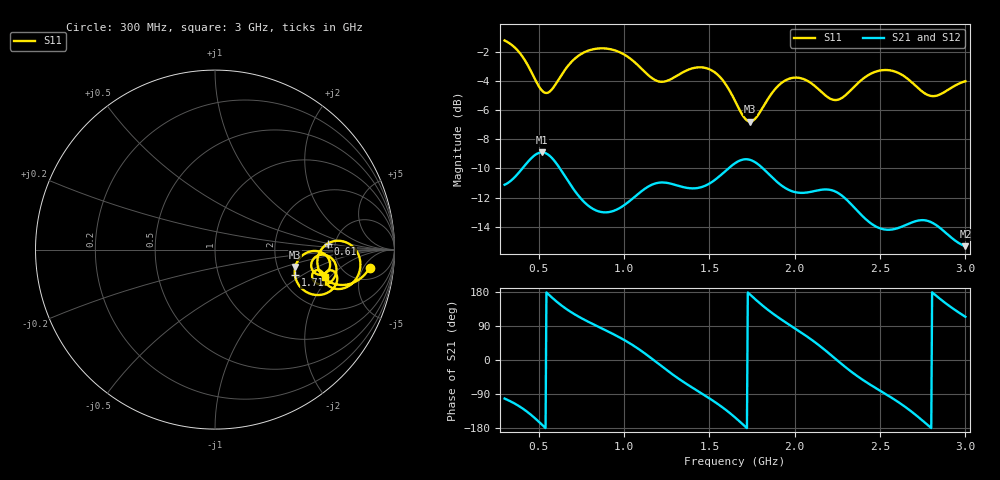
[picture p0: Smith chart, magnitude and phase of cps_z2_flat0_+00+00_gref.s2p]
! cps_z2_flat0_+00+00_gref
! simulated by sim/fixtures_fdtd.py (S12 = S21, S22 not computed)
# HZ S RI R 50
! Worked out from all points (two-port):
!   541 points, 300 MHz to 3 GHz, reference 50 ohm
!   highest |S21| = -8.90 dB at 520 MHz (marker M1); lowest = -15.3 dB at 3 GHz (marker M2)
!   |S21| within 3 dB of the highest: start of sweep to 735.3 MHz; 1.067 GHz to 2.281 GHz (1.214 GHz wide, 72.6 % of centre)
!   lowest |S11| = -6.8 dB at 1.74 GHz (marker M3), VSWR 2.69, Z = 126 - j30.5 ohm
!   |S11| at or under -10 dB: nowhere
!   |S22| runs from - to - dB; largest |S21 - S12| = 0
!   S11 on the Smith chart (normalised r, x): 300 MHz: 8, -7; 610 MHz: 4.33, +0.48; 1.71 GHz: 2.38, -0.87; 3 GHz: 3.44, -1.75
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3e8  0.8618 -0.1013  -0.0567 -0.2724  -0.0567 -0.2724  0 0
4.25e8  0.7051 -0.1973  -0.2281 -0.2346  -0.2281 -0.2346  0 0
5.2e8  0.5747 -0.1006  -0.3547 -0.0555  -0.3547 -0.0555  0 0
6.1e8  0.6278 0.0335  -0.2876 0.1516  -0.2876 0.1516  0 0
7.5e8  0.7808 0.00243  -0.0866 0.2328  -0.0866 0.2328  0 0
8.85e8  0.8067 -0.1152  0.039 0.2203  0.039 0.2203  0 0
1.025e9  0.7307 -0.2107  0.1674 0.1758  0.1674 0.1758  0 0
1.2e9  0.6086 -0.1583  0.2787 -0.0464  0.2787 -0.0464  0 0
1.31e9  0.647 -0.1153  0.1911 -0.2002  0.1911 -0.2002  0 0
1.43e9  0.6807 -0.1699  0.0406 -0.2681  0.0406 -0.2681  0 0
1.555e9  0.6083 -0.2478  -0.1387 -0.2617  -0.1387 -0.2617  0 0
1.65e9  0.4905 -0.2234  -0.2894 -0.1579  -0.2894 -0.1579  0 0
1.71e9  0.4454 -0.1433  -0.3391 -0.0259  -0.3391 -0.0259  0 0
1.74e9  0.4475 -0.0961  -0.3349 0.0474  -0.3349 0.0474  0 0
1.885e9  0.5911 -0.0143  -0.1365 0.2541  -0.1365 0.2541  0 0
2.1e9  0.6016 -0.139  0.1583 0.2106  0.1583 0.2106  0 0
2.26e9  0.5418 -0.0627  0.2584 -0.0228  0.2584 -0.0228  0 0
2.38e9  0.6264 -0.0334  0.1525 -0.1618  0.1525 -0.1618  0 0
2.55e9  0.6719 -0.1409  -0.0158 -0.1944  -0.0158 -0.1944  0 0
2.67e9  0.6045 -0.1963  -0.135 -0.1541  -0.135 -0.1541  0 0
2.78e9  0.542 -0.1572  -0.2071 -0.0296  -0.2071 -0.0296  0 0
3e9  0.6101 -0.1535  -0.0695 0.1567  -0.0695 0.1567  0 0
